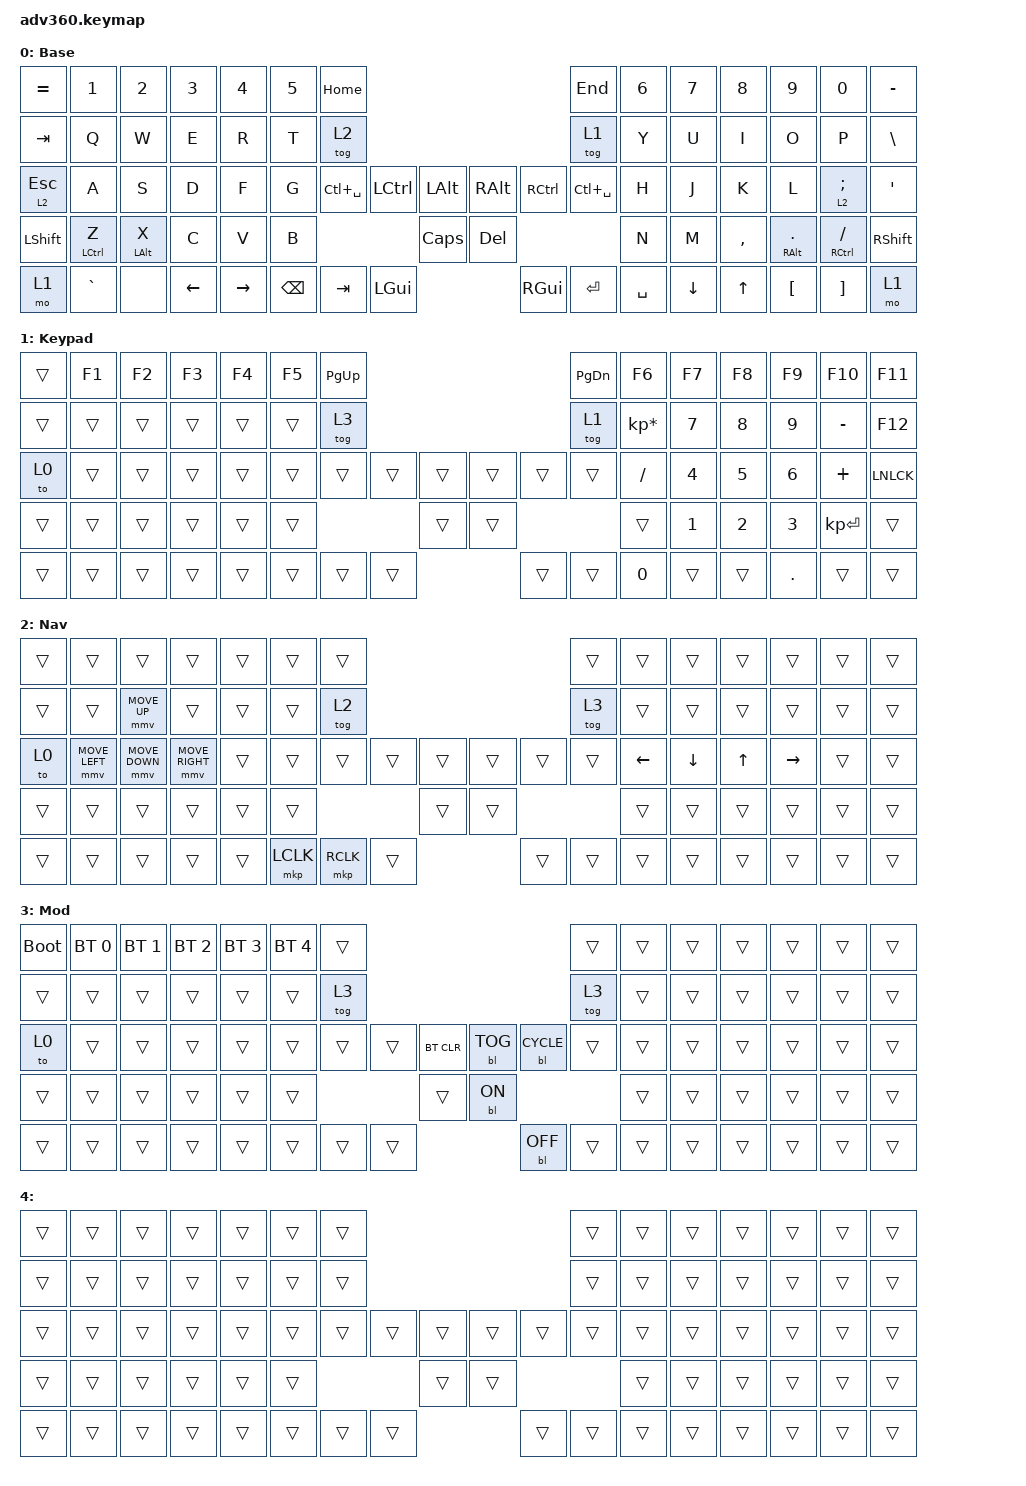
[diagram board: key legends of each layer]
#include <behaviors.dtsi>
#include <dt-bindings/zmk/keys.h>
#include <dt-bindings/zmk/bt.h>
#include <dt-bindings/zmk/rgb.h>
#include <dt-bindings/zmk/stp.h>
#include <dt-bindings/zmk/backlight.h>
#include <dt-bindings/zmk/pointing.h>

/ {
    behaviors {
        #include "macros.dtsi"
        #include "version.dtsi"

        hm: homerow_mods {
            compatible = "zmk,behavior-hold-tap";
            label = "HOMEROW_MODS";
            #binding-cells = <2>;
            tapping-term-ms = <200>;
            quick_tap_ms = <175>;
            flavor = "tap-preferred";
            bindings = <&kp>, <&kp>;
        };
    };

    keymap {
        compatible = "zmk,keymap";

        default_layer {
            display-name = "Base";
            bindings = <
//    ┌──────────┬────────────┬────────────┬──────┬──────┬───┬───────────┐                                            ┌───────────┬───┬──────┬────┬────────────┬────────────┬──────┐
//    │    =     │     1      │     2      │  3   │  4   │ 5 │   home    │                                            │    end    │ 6 │  7   │ 8  │     9      │     0      │  -   │
//    ├──────────┼────────────┼────────────┼──────┼──────┼───┼───────────┤                                            ├───────────┼───┼──────┼────┼────────────┼────────────┼──────┤
//    │   tab    │     Q      │     W      │  E   │  R   │ T │   tog 2   │                                            │   tog 1   │ Y │  U   │ I  │     O      │     P      │  \   │
//    ├──────────┼────────────┼────────────┼──────┼──────┼───┼───────────┤      ┌──────┬──────┐   ┌──────┬──────┐     ├───────────┼───┼──────┼────┼────────────┼────────────┼──────┤
//    │ lt 2 esc │     A      │     S      │  D   │  F   │ G │ lctl(spc) │      │ lctl │ lalt │   │ ralt │ rctl │     │ lctl(spc) │ H │  J   │ K  │     L      │   lt 2 ;   │  '   │
//    ├──────────┼────────────┼────────────┼──────┼──────┼───┼───────────┘      └──────┼──────┤   ├──────┼──────┘     └───────────┼───┼──────┼────┼────────────┼────────────┼──────┤
//    │   lsft   │ &hm lctl Z │ &hm lalt X │  C   │  V   │ B │                         │ caps │   │ del  │                        │ N │  M   │ ,  │ &hm ralt . │ &hm rctl / │ rsft │
//    ├──────────┼────────────┼────────────┼──────┼──────┼───┘           ┌──────┬──────┼──────┤   ├──────┼──────┬─────┐           └───┼──────┼────┼────────────┼────────────┼──────┤
//    │   mo 1   │     `      │            │ left │ rght │               │ bspc │ tab  │ lgui │   │ rgui │ ent  │ spc │               │ down │ up │     [      │     ]      │ mo 1 │
//    └──────────┴────────────┴────────────┴──────┴──────┘               └──────┴──────┴──────┘   └──────┴──────┴─────┘               └──────┴────┴────────────┴────────────┴──────┘
  &kp EQUAL   &kp N1        &kp N2       &kp N3     &kp N4      &kp N5   &kp HOME                                                                                 &kp END         &kp N6   &kp N7     &kp N8      &kp N9            &kp N0           &kp MINUS
  &kp TAB     &kp Q         &kp W        &kp E      &kp R       &kp T    &tog 2                                                                                   &tog 1          &kp Y    &kp U      &kp I       &kp O             &kp P            &kp BSLH
  &lt 2 ESC   &kp A         &kp S        &kp D      &kp F       &kp G    &kp LC(SPACE)              &kp LCTRL   &kp LALT       &kp RALT   &kp RCTRL               &kp LC(SPACE)   &kp H    &kp J      &kp K       &kp L             &lt 2 SEMI       &kp SQT
  &kp LSHFT   &hm LCTRL Z   &hm LALT X   &kp C      &kp V       &kp B                                           &kp CAPS       &kp DEL                                            &kp N    &kp M      &kp COMMA   &hm RALT PERIOD   &hm RCTRL FSLH   &kp RSHFT
  &mo 1       &kp GRAVE     &none        &kp LEFT   &kp RIGHT                            &kp BSPC   &kp TAB     &kp LGUI       &kp RGUI   &kp ENTER   &kp SPACE                            &kp DOWN   &kp UP      &kp LBKT          &kp RBKT         &mo 1
            >;
        };

        layer_keypad {
            display-name = "Keypad";
            bindings = <
//    ┌──────┬─────┬─────┬─────┬─────┬─────┬───────┐                                     ┌───────┬──────┬─────┬─────┬────┬─────┬───────┐
//    │      │ f1  │ f2  │ f3  │ f4  │ f5  │ pgup  │                                     │ pgdn  │  f6  │ f7  │ f8  │ f9 │ f10 │  f11  │
//    ├──────┼─────┼─────┼─────┼─────┼─────┼───────┤                                     ├───────┼──────┼─────┼─────┼────┼─────┼───────┤
//    │      │     │     │     │     │     │ tog 3 │                                     │ tog 1 │ kp_* │  7  │  8  │ 9  │  -  │  f12  │
//    ├──────┼─────┼─────┼─────┼─────┼─────┼───────┤     ┌─────┬─────┐   ┌─────┬─────┐   ├───────┼──────┼─────┼─────┼────┼─────┼───────┤
//    │ to 0 │     │     │     │     │     │       │     │     │     │   │     │     │   │       │  /   │  4  │  5  │ 6  │  +  │ lnlck │
//    ├──────┼─────┼─────┼─────┼─────┼─────┼───────┘     └─────┼─────┤   ├─────┼─────┘   └───────┼──────┼─────┼─────┼────┼─────┼───────┤
//    │      │     │     │     │     │     │                   │     │   │     │                 │      │  1  │  2  │ 3  │ ent │       │
//    ├──────┼─────┼─────┼─────┼─────┼─────┘       ┌─────┬─────┼─────┤   ├─────┼─────┬───┐       └──────┼─────┼─────┼────┼─────┼───────┤
//    │      │     │     │     │     │             │     │     │     │   │     │     │ 0 │              │     │     │ .  │     │       │
//    └──────┴─────┴─────┴─────┴─────┘             └─────┴─────┴─────┘   └─────┴─────┴───┘              └─────┴─────┴────┴─────┴───────┘
  &trans   &kp F1   &kp F2   &kp F3   &kp F4   &kp F5   &kp PG_UP                                                             &kp PG_DN   &kp F6            &kp F7   &kp F8   &kp F9       &kp F10        &kp F11
  &trans   &trans   &trans   &trans   &trans   &trans   &tog 3                                                                &tog 1      &kp KP_MULTIPLY   &kp N7   &kp N8   &kp N9       &kp MINUS      &kp F12
  &to 0    &trans   &trans   &trans   &trans   &trans   &trans               &trans   &trans       &trans   &trans            &trans      &kp FSLH          &kp N4   &kp N5   &kp N6       &kp PLUS       &kp LNLCK
  &trans   &trans   &trans   &trans   &trans   &trans                                 &trans       &trans                                 &trans            &kp N1   &kp N2   &kp N3       &kp KP_ENTER   &trans
  &trans   &trans   &trans   &trans   &trans                        &trans   &trans   &trans       &trans   &trans   &kp N0                                 &trans   &trans   &kp PERIOD   &trans         &trans
            >;
        };

        layer_nav {
            display-name = "Nav";
            bindings = <
//    ┌──────┬────────────────┬────────────────┬────────────────┬─────┬─────┬───────┐                                         ┌───────┬──────┬──────┬─────┬──────┬─────┬─────┐
//    │      │                │                │                │     │     │       │                                         │       │      │      │     │      │     │     │
//    ├──────┼────────────────┼────────────────┼────────────────┼─────┼─────┼───────┤                                         ├───────┼──────┼──────┼─────┼──────┼─────┼─────┤
//    │      │                │  &mmv MOVE_up  │                │     │     │ tog 2 │                                         │ tog 3 │      │      │     │      │     │     │
//    ├──────┼────────────────┼────────────────┼────────────────┼─────┼─────┼───────┤      ┌──────┬─────┐   ┌─────┬─────┐     ├───────┼──────┼──────┼─────┼──────┼─────┼─────┤
//    │ to 0 │ &mmv MOVE_left │ &mmv MOVE_down │ &mmv MOVE_rght │     │     │       │      │      │     │   │     │     │     │       │ left │ down │ up  │ rght │     │     │
//    ├──────┼────────────────┼────────────────┼────────────────┼─────┼─────┼───────┘      └──────┼─────┤   ├─────┼─────┘     └───────┼──────┼──────┼─────┼──────┼─────┼─────┤
//    │      │                │                │                │     │     │                     │     │   │     │                   │      │      │     │      │     │     │
//    ├──────┼────────────────┼────────────────┼────────────────┼─────┼─────┘       ┌──────┬──────┼─────┤   ├─────┼─────┬─────┐       └──────┼──────┼─────┼──────┼─────┼─────┤
//    │      │                │                │                │     │             │ lclk │ rclk │     │   │     │     │     │              │      │     │      │     │     │
//    └──────┴────────────────┴────────────────┴────────────────┴─────┘             └──────┴──────┴─────┘   └─────┴─────┴─────┘              └──────┴─────┴──────┴─────┴─────┘
  &trans   &trans           &trans           &trans            &trans   &trans   &trans                                                                   &trans   &trans     &trans     &trans   &trans      &trans   &trans
  &trans   &trans           &mmv MOVE_UP     &trans            &trans   &trans   &tog 2                                                                   &tog 3   &trans     &trans     &trans   &trans      &trans   &trans
  &to 0    &mmv MOVE_LEFT   &mmv MOVE_DOWN   &mmv MOVE_RIGHT   &trans   &trans   &trans               &trans      &trans       &trans   &trans            &trans   &kp LEFT   &kp DOWN   &kp UP   &kp RIGHT   &trans   &trans
  &trans   &trans           &trans           &trans            &trans   &trans                                    &trans       &trans                              &trans     &trans     &trans   &trans      &trans   &trans
  &trans   &trans           &trans           &trans            &trans                     &mkp LCLK   &mkp RCLK   &trans       &trans   &trans   &trans                       &trans     &trans   &trans      &trans   &trans
            >;
        };

        layer_mod {
            display-name = "Mod";
            bindings = <
//    ┌──────┬──────────┬──────────┬──────────┬──────────┬──────────┬───────┐                                                   ┌───────┬─────┬─────┬─────┬─────┬─────┬─────┐
//    │ boot │ bt_sel 0 │ bt_sel 1 │ bt_sel 2 │ bt_sel 3 │ bt_sel 4 │       │                                                   │       │     │     │     │     │     │     │
//    ├──────┼──────────┼──────────┼──────────┼──────────┼──────────┼───────┤                                                   ├───────┼─────┼─────┼─────┼─────┼─────┼─────┤
//    │      │          │          │          │          │          │ tog 3 │                                                   │ tog 3 │     │     │     │     │     │     │
//    ├──────┼──────────┼──────────┼──────────┼──────────┼──────────┼───────┤     ┌─────┬────────┐   ┌─────────┬──────────┐     ├───────┼─────┼─────┼─────┼─────┼─────┼─────┤
//    │ to 0 │          │          │          │          │          │       │     │     │ bt_clr │   │ bl_ tog │ bl_ cycl │     │       │     │     │     │     │     │     │
//    ├──────┼──────────┼──────────┼──────────┼──────────┼──────────┼───────┘     └─────┼────────┤   ├─────────┼──────────┘     └───────┼─────┼─────┼─────┼─────┼─────┼─────┤
//    │      │          │          │          │          │          │                   │        │   │ bl_ on  │                        │     │     │     │     │     │     │
//    ├──────┼──────────┼──────────┼──────────┼──────────┼──────────┘       ┌─────┬─────┼────────┤   ├─────────┼──────────┬─────┐       └─────┼─────┼─────┼─────┼─────┼─────┤
//    │      │          │          │          │          │                  │     │     │        │   │ bl_ off │          │     │             │     │     │     │     │     │
//    └──────┴──────────┴──────────┴──────────┴──────────┘                  └─────┴─────┴────────┘   └─────────┴──────────┴─────┘             └─────┴─────┴─────┴─────┴─────┘
  &bootloader   &bt BT_SEL 0   &bt BT_SEL 1   &bt BT_SEL 2   &bt BT_SEL 3   &bt BT_SEL 4   &trans                                                                           &trans   &trans   &trans   &trans   &trans   &trans   &trans
  &trans        &trans         &trans         &trans         &trans         &trans         &tog 3                                                                           &tog 3   &trans   &trans   &trans   &trans   &trans   &trans
  &to 0         &trans         &trans         &trans         &trans         &trans         &trans            &trans   &bt BT_CLR       &bl BL_TOG   &bl BL_CYCLE            &trans   &trans   &trans   &trans   &trans   &trans   &trans
  &trans        &trans         &trans         &trans         &trans         &trans                                    &trans           &bl BL_ON                                     &trans   &trans   &trans   &trans   &trans   &trans
  &trans        &trans         &trans         &trans         &trans                                 &trans   &trans   &trans           &bl BL_OFF   &trans         &trans                     &trans   &trans   &trans   &trans   &trans
            >;
        };

        empty_layer {
            display-name = "";
            bindings = <
//    ┌─────┬─────┬─────┬─────┬─────┬─────┬─────┐                                       ┌─────┬─────┬─────┬─────┬─────┬─────┬─────┐
//    │     │     │     │     │     │     │     │                                       │     │     │     │     │     │     │     │
//    ├─────┼─────┼─────┼─────┼─────┼─────┼─────┤                                       ├─────┼─────┼─────┼─────┼─────┼─────┼─────┤
//    │     │     │     │     │     │     │     │                                       │     │     │     │     │     │     │     │
//    ├─────┼─────┼─────┼─────┼─────┼─────┼─────┤     ┌─────┬─────┐   ┌─────┬─────┐     ├─────┼─────┼─────┼─────┼─────┼─────┼─────┤
//    │     │     │     │     │     │     │     │     │     │     │   │     │     │     │     │     │     │     │     │     │     │
//    ├─────┼─────┼─────┼─────┼─────┼─────┼─────┘     └─────┼─────┤   ├─────┼─────┘     └─────┼─────┼─────┼─────┼─────┼─────┼─────┤
//    │     │     │     │     │     │     │                 │     │   │     │                 │     │     │     │     │     │     │
//    ├─────┼─────┼─────┼─────┼─────┼─────┘     ┌─────┬─────┼─────┤   ├─────┼─────┬─────┐     └─────┼─────┼─────┼─────┼─────┼─────┤
//    │     │     │     │     │     │           │     │     │     │   │     │     │     │           │     │     │     │     │     │
//    └─────┴─────┴─────┴─────┴─────┘           └─────┴─────┴─────┘   └─────┴─────┴─────┘           └─────┴─────┴─────┴─────┴─────┘
  &trans   &trans   &trans   &trans   &trans   &trans   &trans                                                             &trans   &trans   &trans   &trans   &trans   &trans   &trans
  &trans   &trans   &trans   &trans   &trans   &trans   &trans                                                             &trans   &trans   &trans   &trans   &trans   &trans   &trans
  &trans   &trans   &trans   &trans   &trans   &trans   &trans            &trans   &trans       &trans   &trans            &trans   &trans   &trans   &trans   &trans   &trans   &trans
  &trans   &trans   &trans   &trans   &trans   &trans                              &trans       &trans                              &trans   &trans   &trans   &trans   &trans   &trans
  &trans   &trans   &trans   &trans   &trans                     &trans   &trans   &trans       &trans   &trans   &trans                     &trans   &trans   &trans   &trans   &trans
            >;
        };

        extra1 {
            display-name = "Red";
            status = "reserved";
        };

        extra2 {
            display-name = "Purple";
            status = "reserved";
        };

        extra3 {
            display-name = "Cyan";
            status = "reserved";
        };

        extra4 {
            display-name = "Yellow";
            status = "reserved";
        };
    };
};
